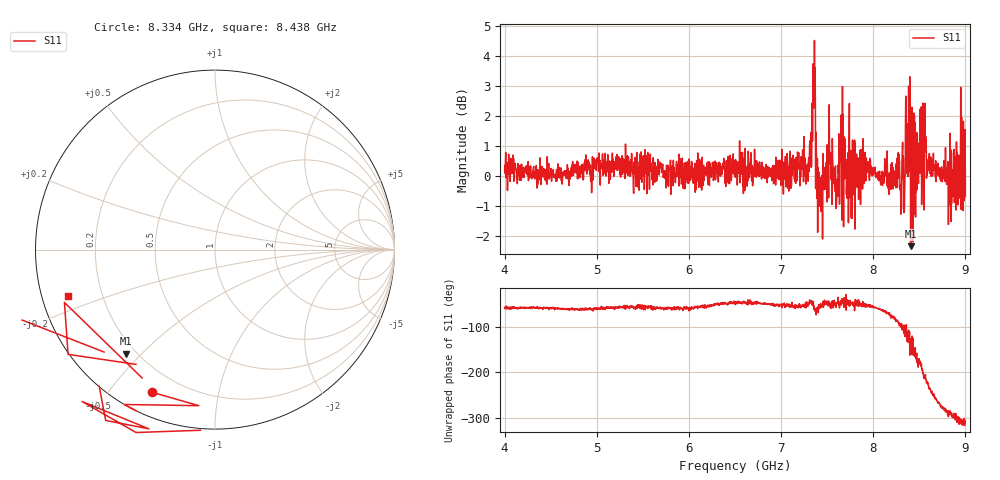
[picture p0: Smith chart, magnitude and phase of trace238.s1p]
! Created with skrf 1.8.0 (http://scikit-rf.org).
# Hz S RI R 50.0
!freq ReS11 ImS11
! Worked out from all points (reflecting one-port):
!   1601 points, 4 GHz to 9 GHz, reference 50 ohm
!   lowest |S11| = -2.3 dB at 8.406 GHz (marker M1), VSWR 7.46, Z = 8.09 - j22.5 ohm
!   phase of S11 starts at -57 deg and turns -251 deg over the sweep
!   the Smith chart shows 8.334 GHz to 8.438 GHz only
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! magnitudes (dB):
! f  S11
! 4 GHz  0.2
! 4.625 GHz  -0.3
! 5.25 GHz  0.1
! 5.875 GHz  0.2
! 6.5 GHz  0.4
! 7.125 GHz  0.4
! 7.294 GHz  -0.2
! 7.316 GHz  0.5
! 7.347 GHz  3.7
! 7.369 GHz  3.6
! 7.4 GHz  0.3
! 7.428 GHz  -0.2
! 7.512 GHz  0.3
! 7.609 GHz  -0.1
! 7.65 GHz  2.0
! 7.75 GHz  -0.2
! 8.262 GHz  -0.4
! 8.316 GHz  0.8
! 8.375 GHz  0.0
! 8.406 GHz  -2.3
! 8.441 GHz  2.1
! 8.459 GHz  -1.4
! 8.556 GHz  2.1
! 8.603 GHz  0.6
! 8.788 GHz  0.0
! 8.841 GHz  0.1
! 8.972 GHz  -0.1
! 9 GHz  -0.7
